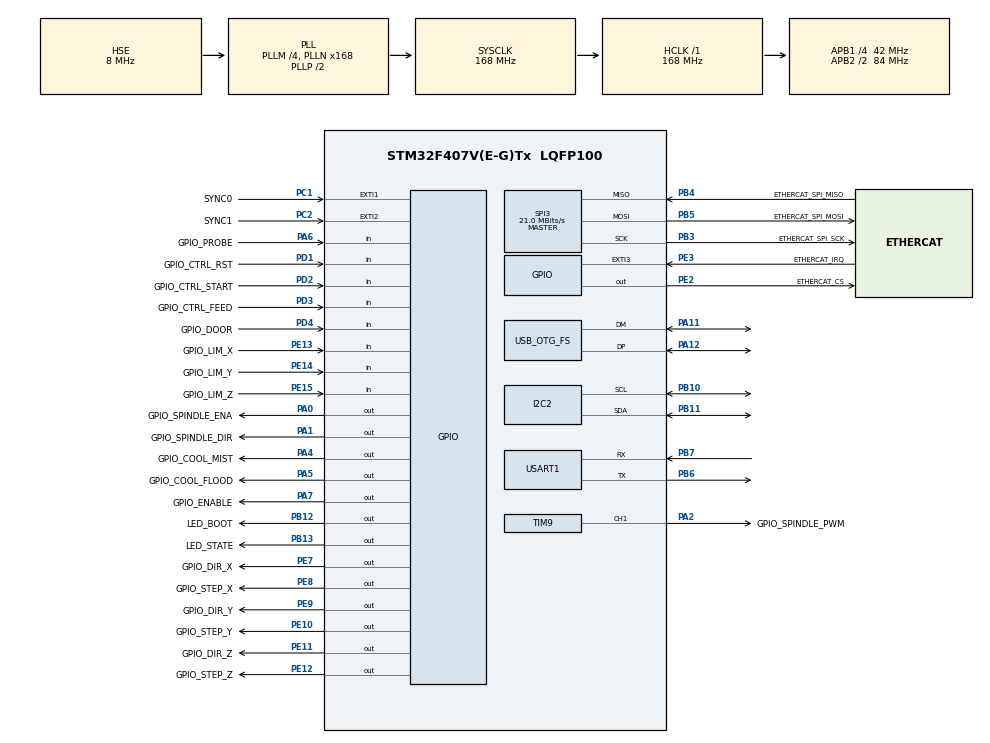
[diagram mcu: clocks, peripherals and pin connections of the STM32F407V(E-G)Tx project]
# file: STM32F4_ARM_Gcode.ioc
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Mcu.Family=STM32F4
Mcu.Name=STM32F407V(E-G)Tx
Mcu.Package=LQFP100
NVIC.PriorityGroup=NVIC_PRIORITYGROUP_4
NVIC.TIM4_IRQn=true\:0\:0\:false\:false\:false\:true
NVIC.USART1_IRQn=true\:0\:0\:false\:false\:true\:true
PA0-WKUP.GPIO_Label=GPIO_SPINDLE_ENA
PA0-WKUP.Signal=GPIO_Output
PA1.GPIO_Label=GPIO_SPINDLE_DIR
PA1.Signal=GPIO_Output
PA11.Mode=Device_Only
PA11.Signal=USB_OTG_FS_DM
PA12.Mode=Device_Only
PA12.Signal=USB_OTG_FS_DP
PA13.Mode=Serial_Wire
PA13.Signal=SYS_JTMS-SWDIO
PA14.Mode=Serial_Wire
PA14.Signal=SYS_JTCK-SWCLK
PA2.GPIO_Label=GPIO_SPINDLE_PWM
PA2.GPIO_PuPd=GPIO_PULLUP
PA2.GPIO_Speed=GPIO_SPEED_FREQ_HIGH
PA2.Signal=S_TIM9_CH1
PA4.GPIO_Label=GPIO_COOL_MIST
PA4.Signal=GPIO_Output
PA5.GPIO_Label=GPIO_COOL_FLOOD
PA5.Signal=GPIO_Output
PA6.GPIO_Label=GPIO_PROBE
PA6.GPIO_PuPd=GPIO_PULLUP
PA6.Signal=GPIO_Input
PA7.GPIO_Label=GPIO_ENABLE
PA7.GPIO_PuPd=GPIO_PULLUP
PA7.GPIO_Speed=GPIO_SPEED_FREQ_HIGH
PA7.PinState=GPIO_PIN_SET
PA7.Signal=GPIO_Output
PB10.Mode=I2C
PB10.Signal=I2C2_SCL
PB11.Mode=I2C
PB11.Signal=I2C2_SDA
PB12.GPIO_Label=LED_BOOT
PB12.GPIO_Speed=GPIO_SPEED_FREQ_HIGH
PB12.PinState=GPIO_PIN_SET
PB12.Signal=GPIO_Output
PB13.GPIO_Label=LED_STATE
PB13.GPIO_Speed=GPIO_SPEED_FREQ_HIGH
PB13.PinState=GPIO_PIN_SET
PB13.Signal=GPIO_Output
PB3.GPIO_Label=ETHERCAT_SPI_SCK
PB3.Mode=Full_Duplex_Master
PB3.Signal=SPI3_SCK
PB4.GPIO_Label=ETHERCAT_SPI_MISO
PB4.Mode=Full_Duplex_Master
PB4.Signal=SPI3_MISO
PB5.GPIO_Label=ETHERCAT_SPI_MOSI
PB5.Mode=Full_Duplex_Master
PB5.Signal=SPI3_MOSI
PB6.Mode=Asynchronous
PB6.Signal=USART1_TX
PB7.Mode=Asynchronous
PB7.Signal=USART1_RX
PC1.GPIO_Label=SYNC0
PC1.GPIO_ModeDefaultEXTI=GPIO_MODE_IT_FALLING
PC1.Signal=GPXTI1
PC14-OSC32_IN.Mode=LSE-External-Oscillator
PC14-OSC32_IN.Signal=RCC_OSC32_IN
PC15-OSC32_OUT.Mode=LSE-External-Oscillator
PC15-OSC32_OUT.Signal=RCC_OSC32_OUT
PC2.GPIO_Label=SYNC1
PC2.GPIO_ModeDefaultEXTI=GPIO_MODE_IT_FALLING
PC2.Signal=GPXTI2
PD1.GPIO_Label=GPIO_CTRL_RST
PD1.GPIO_PuPd=GPIO_PULLDOWN
PD1.Signal=GPIO_Input
PD2.GPIO_Label=GPIO_CTRL_START
PD2.GPIO_PuPd=GPIO_PULLDOWN
PD2.Signal=GPIO_Input
PD3.GPIO_Label=GPIO_CTRL_FEED
PD3.GPIO_PuPd=GPIO_PULLDOWN
PD3.Signal=GPIO_Input
PD4.GPIO_Label=GPIO_DOOR
PD4.GPIO_PuPd=GPIO_PULLDOWN
PD4.Signal=GPIO_Input
PE10.GPIO_Label=GPIO_STEP_Y
PE10.GPIO_Speed=GPIO_SPEED_FREQ_VERY_HIGH
PE10.Signal=GPIO_Output
PE11.GPIO_Label=GPIO_DIR_Z
PE11.GPIO_Speed=GPIO_SPEED_FREQ_VERY_HIGH
PE11.Signal=GPIO_Output
PE12.GPIO_Label=GPIO_STEP_Z
PE12.GPIO_Speed=GPIO_SPEED_FREQ_VERY_HIGH
PE12.Signal=GPIO_Output
PE13.GPIO_Label=GPIO_LIM_X
PE13.GPIO_PuPd=GPIO_PULLUP
PE13.Signal=GPIO_Input
PE14.GPIO_Label=GPIO_LIM_Y
PE14.GPIO_PuPd=GPIO_PULLUP
PE14.Signal=GPIO_Input
PE15.GPIO_Label=GPIO_LIM_Z
PE15.GPIO_PuPd=GPIO_PULLUP
PE15.Signal=GPIO_Input
PE2.GPIO_Label=ETHERCAT_CS
PE2.GPIO_PuPd=GPIO_PULLUP
PE2.GPIO_Speed=GPIO_SPEED_FREQ_HIGH
PE2.PinState=GPIO_PIN_SET
PE2.Signal=GPIO_Output
PE3.GPIO_Label=ETHERCAT_IRQ
PE3.GPIO_ModeDefaultEXTI=GPIO_MODE_IT_FALLING
PE3.Signal=GPXTI3
PE7.GPIO_Label=GPIO_DIR_X
PE7.GPIO_Speed=GPIO_SPEED_FREQ_VERY_HIGH
PE7.Signal=GPIO_Output
PE8.GPIO_Label=GPIO_STEP_X
PE8.GPIO_Speed=GPIO_SPEED_FREQ_VERY_HIGH
PE8.Signal=GPIO_Output
PE9.GPIO_Label=GPIO_DIR_Y
PE9.GPIO_Speed=GPIO_SPEED_FREQ_VERY_HIGH
PE9.Signal=GPIO_Output
PH0-OSC_IN.Mode=HSE-External-Oscillator
PH0-OSC_IN.Signal=RCC_OSC_IN
PH1-OSC_OUT.Mode=HSE-External-Oscillator
PH1-OSC_OUT.Signal=RCC_OSC_OUT
ProjectManager.HeapSize=0x200
ProjectManager.StackSize=0x400
ProjectManager.TargetToolchain=MDK-ARM V5
RCC.48MHZClocksFreq_Value=48000000
RCC.AHBFreq_Value=168000000
RCC.APB1CLKDivider=RCC_HCLK_DIV4
RCC.APB1Freq_Value=42000000
RCC.APB1TimFreq_Value=84000000
RCC.APB2CLKDivider=RCC_HCLK_DIV2
RCC.APB2Freq_Value=84000000
RCC.APB2TimFreq_Value=168000000
RCC.CortexFreq_Value=168000000
RCC.HCLKFreq_Value=168000000
RCC.HSE_VALUE=8000000
RCC.HSI_VALUE=16000000
RCC.PLLM=4
RCC.PLLN=168
RCC.PLLQ=7
RCC.SYSCLKFreq_VALUE=168000000
RCC.SYSCLKSource=RCC_SYSCLKSOURCE_PLLCLK
RCC.VCOOutputFreq_Value=336000000
SH.S_TIM9_CH1.0=TIM9_CH1,PWM Generation1 CH1
SPI3.CalculateBaudRate=21.0 MBits/s
SPI3.Direction=SPI_DIRECTION_2LINES
SPI3.Mode=SPI_MODE_MASTER
SPI3.VirtualType=VM_MASTER
TIM4.Channel-Output\ Compare1\ No\ Output=TIM_CHANNEL_1
TIM4.OCPolarity_1=TIM_OCPOLARITY_LOW
TIM4.Period=0xFFFF
TIM4.Prescaler=4-1
TIM4.Pulse-Output\ Compare1\ No\ Output=0x0FFF
TIM9.Channel-PWM\ Generation1\ CH1=TIM_CHANNEL_1
TIM9.Period=100-1
TIM9.Prescaler=72
USART1.VirtualMode=VM_ASYNC
USB_OTG_FS.VirtualMode=Device_Only
VP_TIM4_VS_ClockSourceINT.Mode=Internal
VP_TIM4_VS_no_output1.Mode=Output Compare1 No Output
VP_TIM9_VS_ClockSourceINT.Mode=Internal
board=custom

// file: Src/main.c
/**
  ******************************************************************************
  * @file           : main.c
  * @brief          : Main program body
  ******************************************************************************
  ** This notice applies to any and all portions of this file
  * that are not between comment pairs USER CODE BEGIN and
  * USER CODE END. Other portions of this file, whether
  * inserted by the user or by software development tools
  * are owned by their respective copyright owners.
  *
  * COPYRIGHT(c) 2018 STMicroelectronics
  *
  * Redistribution and use in source and binary forms, with or without modification,
  * are permitted provided that the following conditions are met:
  *   1. Redistributions of source code must retain the above copyright notice,
  *      this list of conditions and the following disclaimer.
  *   2. Redistributions in binary form must reproduce the above copyright notice,
  *      this list of conditions and the following disclaimer in the documentation
  *      and/or other materials provided with the distribution.
  *   3. Neither the name of STMicroelectronics nor the names of its contributors
  *      may be used to endorse or promote products derived from this software
  *      without specific prior written permission.
  *
  * THIS SOFTWARE IS PROVIDED BY THE COPYRIGHT HOLDERS AND CONTRIBUTORS "AS IS"
  * AND ANY EXPRESS OR IMPLIED WARRANTIES, INCLUDING, BUT NOT LIMITED TO, THE
  * IMPLIED WARRANTIES OF MERCHANTABILITY AND FITNESS FOR A PARTICULAR PURPOSE ARE
  * DISCLAIMED. IN NO EVENT SHALL THE COPYRIGHT HOLDER OR CONTRIBUTORS BE LIABLE
  * FOR ANY DIRECT, INDIRECT, INCIDENTAL, SPECIAL, EXEMPLARY, OR CONSEQUENTIAL
  * DAMAGES (INCLUDING, BUT NOT LIMITED TO, PROCUREMENT OF SUBSTITUTE GOODS OR
  * SERVICES; LOSS OF USE, DATA, OR PROFITS; OR BUSINESS INTERRUPTION) HOWEVER
  * CAUSED AND ON ANY THEORY OF LIABILITY, WHETHER IN CONTRACT, STRICT LIABILITY,
  * OR TORT (INCLUDING NEGLIGENCE OR OTHERWISE) ARISING IN ANY WAY OUT OF THE USE
  * OF THIS SOFTWARE, EVEN IF ADVISED OF THE POSSIBILITY OF SUCH DAMAGE.
  *
  ******************************************************************************
  */
#include "main.h"
#include "stm32f4xx_hal.h"
#include "i2c.h"
#include "spi.h"
#include "tim.h"
#include "usart.h"
#include "usb_otg.h"
#include "gpio.h"

/* USER CODE BEGIN Includes */
#include "grbl_advance.h"

#include "Print.h"
//#include "Motor_setting.h"

#include "Arm_motion.h"
/* USER CODE END Includes */

/* USER CODE BEGIN PV */
/* Private variables ---------------------------------------------------------*/
System_t sys;
int32_t sys_position[N_AXIS];      // Real-time machine (aka home) position vector in steps.
int32_t sys_probe_position[N_AXIS]; // Last probe position in machine coordinates and steps.
volatile uint8_t sys_probe_state;   // Probing state value.  Used to coordinate the probing cycle with stepper ISR.
volatile uint8_t sys_rt_exec_state;   // Global realtime executor bitflag variable for state management. See EXEC bitmasks.
volatile uint8_t sys_rt_exec_alarm;   // Global realtime executor bitflag variable for setting various alarms.
volatile uint8_t sys_rt_exec_motion_override; // Global realtime executor bitflag variable for motion-based overrides.
volatile uint8_t sys_rt_exec_accessory_override; // Global realtime executor bitflag variable for spindle/coolant overrides.
/* USER CODE END PV */

void SystemClock_Config(void);

/* USER CODE BEGIN PFP */
/* Private function prototypes -----------------------------------------------*/

/* USER CODE END PFP */

/* USER CODE BEGIN 0 */

//  @ fuction:
//  @ description:  Grbl_setup
//  @ input:
//  @ output:
//  @ note:
void Grbl_setup(void){
	  Print_Init();//串口打印初始化

    System_Init();//系统引脚初始化(默认拉低)
    Stepper_Init();//初始化步进电机引脚
    Settings_Init();//从epprom中读取设置

    System_ResetPosition();//清除所有的位置信息

    #ifdef ARM
	  Arm_motion_reset();//将{0,0,0}转化为角度信息
	  #endif

    if(BIT_IS_TRUE(settings.flags, BITFLAG_HOMING_ENABLE)) {
		sys.state = STATE_ALARM;
    }
    else {
		sys.state = STATE_IDLE;
    }
}

//  @ fuction:
//  @ description: Grbl_loop
//  @ input:
//  @ output:
//  @ note:
void Grbl_loop(void){
  uint8_t prior_state = sys.state;

		System_Clear();//系统状态清0
		sys.state = prior_state;

		Probe_Reset();

		sys_probe_state = 0;
		sys_rt_exec_state = 0;
		sys_rt_exec_alarm = 0;
		sys_rt_exec_motion_override = 0;
		sys_rt_exec_accessory_override = 0;

		// Reset Grbl-Advanced primary systems.
		GC_Init();
		Planner_Init();

		Coolant_Init();
		Limits_Init();
		Probe_Init();
		Spindle_Init();
		Stepper_Reset();

		// Sync cleared gcode and planner positions to current system position.
		Planner_SyncPosition();
		GC_SyncPosition();

		// Print welcome message. Indicates an initialization has occured at power-up or with a reset.
		Report_InitMessage();

		// Start Grbl-Advanced main loop. Processes program inputs and executes them.
		Protocol_MainLoop();//任务循环
}

//  @ fuction:
//  @ description: Boot
//  @ input:
//  @ output:
//  @ note:
void Boot_State(uint8_t num,uint16_t time_delay){
  for(int i=0;i<num;i++){
	  HAL_GPIO_TogglePin(LED_BOOT_GPIO_Port,LED_BOOT_Pin);
		HAL_Delay(time_delay);
	}
}
/* USER CODE END 0 */

int main(void)
{

  /* MCU Configuration----------------------------------------------------------*/

  /* Reset of all peripherals, Initializes the Flash interface and the Systick. */
  HAL_Init();

  /* Configure the system clock */
  SystemClock_Config();

  /* Initialize all configured peripherals */
  MX_GPIO_Init();
  MX_USART1_UART_Init();
  MX_USB_OTG_FS_PCD_Init();
  MX_TIM9_Init();
  MX_TIM4_Init();
  MX_I2C2_Init();
  MX_SPI3_Init();
  /* USER CODE BEGIN 2 */
  //Motor_Setting_init();//设置A4988的分频
	Boot_State(4,500);//boot
  Grbl_setup();

  /* USER CODE END 2 */

  /* Infinite loop */
  /* USER CODE BEGIN WHILE */
  while (1)
  {
//				HAL_Delay(100);
   Grbl_loop();
//		Printf_MSG("limit = %d\r\n",Limits_GetState());

   HAL_GPIO_TogglePin(LED_STATE_GPIO_Port,LED_STATE_Pin);
//		HAL_Delay(500);
//		HAL_UART_Transmit(&huart1,"OK\r\n",4,500);
  /* USER CODE END WHILE */

  }

}

void SystemClock_Config(void)
{

  RCC_OscInitTypeDef RCC_OscInitStruct;
  RCC_ClkInitTypeDef RCC_ClkInitStruct;

    /**Configure the main internal regulator output voltage
    */
  __HAL_RCC_PWR_CLK_ENABLE();

  __HAL_PWR_VOLTAGESCALING_CONFIG(PWR_REGULATOR_VOLTAGE_SCALE1);

    /**Initializes the CPU, AHB and APB busses clocks
    */
  RCC_OscInitStruct.OscillatorType = RCC_OSCILLATORTYPE_HSE;
  RCC_OscInitStruct.HSEState = RCC_HSE_ON;
  RCC_OscInitStruct.PLL.PLLState = RCC_PLL_ON;
  RCC_OscInitStruct.PLL.PLLSource = RCC_PLLSOURCE_HSE;
  RCC_OscInitStruct.PLL.PLLM = 4;
  RCC_OscInitStruct.PLL.PLLN = 168;
  RCC_OscInitStruct.PLL.PLLP = RCC_PLLP_DIV2;
  RCC_OscInitStruct.PLL.PLLQ = 7;
  if (HAL_RCC_OscConfig(&RCC_OscInitStruct) != HAL_OK)
  {
    _Error_Handler(__FILE__, __LINE__);
  }

    /**Initializes the CPU, AHB and APB busses clocks
    */
  RCC_ClkInitStruct.ClockType = RCC_CLOCKTYPE_HCLK|RCC_CLOCKTYPE_SYSCLK
                              |RCC_CLOCKTYPE_PCLK1|RCC_CLOCKTYPE_PCLK2;
  RCC_ClkInitStruct.SYSCLKSource = RCC_SYSCLKSOURCE_PLLCLK;
  RCC_ClkInitStruct.AHBCLKDivider = RCC_SYSCLK_DIV1;
  RCC_ClkInitStruct.APB1CLKDivider = RCC_HCLK_DIV4;
  RCC_ClkInitStruct.APB2CLKDivider = RCC_HCLK_DIV2;

  if (HAL_RCC_ClockConfig(&RCC_ClkInitStruct, FLASH_LATENCY_5) != HAL_OK)
  {
    _Error_Handler(__FILE__, __LINE__);
  }

    /**Configure the Systick interrupt time
    */
  HAL_SYSTICK_Config(HAL_RCC_GetHCLKFreq()/1000);

    /**Configure the Systick
    */
  HAL_SYSTICK_CLKSourceConfig(SYSTICK_CLKSOURCE_HCLK);

  /* SysTick_IRQn interrupt configuration */
  HAL_NVIC_SetPriority(SysTick_IRQn, 0, 0);
}

void _Error_Handler(char *file, int line)
{
  while(1)
  {
  }
}

/************************ (C) COPYRIGHT STMicroelectronics *****END OF FILE****/
